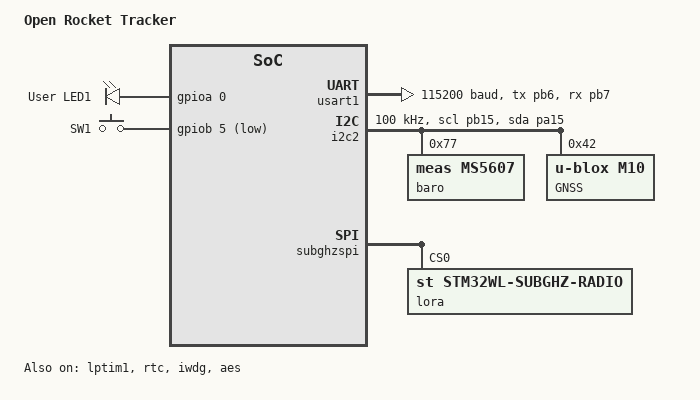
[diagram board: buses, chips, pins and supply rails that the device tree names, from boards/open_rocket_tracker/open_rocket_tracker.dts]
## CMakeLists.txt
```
# SPDX-License-Identifier: Apache-2.0

cmake_minimum_required(VERSION 3.20.0)
find_package(Zephyr REQUIRED HINTS $ENV{ZEPHYR_BASE})
project(open_rocket_tracker)

target_sources(app PRIVATE src/main.c)
```

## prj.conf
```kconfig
# Enable LoRa
CONFIG_LORA=y

# LoRa Configuration
# Adjust spreading factor for range vs speed tradeoff
# SF12: Max range (~10km), slow updates
# Set CONFIG_LORA_TX_INTERVAL_MS to 2000ms for SF12 at max duty cycle
# SF7:  Shorter range, fast updates (4-5Hz possible)
# Set CONFIG_LORA_TX_INTERVAL_MS to 250ms for SF7 at max duty cycle
CONFIG_LORA_FREQUENCY=915000000
CONFIG_LORA_BANDWIDTH=125
CONFIG_LORA_SPREADING_FACTOR=9
CONFIG_LORA_TX_POWER=14
CONFIG_LORA_TX_INTERVAL_MS=500

# Enable comms driver
CONFIG_SERIAL=y
CONFIG_I2C=y
CONFIG_SPI=y 

# Enable GPIO
CONFIG_GPIO=y

# Enable sensors
CONFIG_SENSOR=y

# GNSS Configuration
CONFIG_GNSS_UPDATE_RATE_HZ=5
CONFIG_GNSS_AIRBORNE_4G_MODE=y
CONFIG_GNSS_ENABLE_GGA=y
CONFIG_GNSS_ENABLE_GSV=y
CONFIG_GNSS_ENABLE_RMC=n

# Console
CONFIG_CONSOLE=y
CONFIG_PRINTK=y
CONFIG_UART_CONSOLE=y

# Enable MPU
CONFIG_ARM_MPU=y

# Enable HW stack protection
CONFIG_HW_STACK_PROTECTION=y

# Enable Ring Buffer
CONFIG_RING_BUFFER=y

# RF Activity LED
CONFIG_RF_ENABLE_LED=y
```

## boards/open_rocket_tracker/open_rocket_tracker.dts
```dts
/*
 * Copyright (c) 2023 Marcin Niestroj
 *
 * SPDX-License-Identifier: Apache-2.0
 */

/dts-v1/;
#include <seeed_studio/lora-e5.dtsi>
#include <zephyr/dt-bindings/input/input-event-codes.h>

/ {
	model = "Open Rocket Tracker";
	compatible = "orca,rocket-tracker";

	chosen {
		zephyr,console = &usart1;
		zephyr,shell-uart = &usart1;
		zephyr,sram = &sram0;
		zephyr,flash = &flash0;
		zephyr,code-partition = &slot0_partition;
	};

	leds {
		compatible = "gpio-leds";
		red_led_1: led_1 {
			gpios = <&gpioa 0 GPIO_ACTIVE_HIGH>;
			label = "User LED1";
		};
	};

	gpio_keys {
		compatible = "gpio-keys";
		boot_button: button_0 {
			label = "SW1";
			gpios = <&gpiob 5 (GPIO_ACTIVE_LOW | GPIO_PULL_UP)>;
			zephyr,code = <INPUT_KEY_0>;
		};
	};

	aliases {
		led0 = &red_led_1;
		sw0 = &boot_button;
		lora0 = &lora;
		watchdog0 = &iwdg;
	};
};

stm32_lp_tick_source: &lptim1 {
	status = "okay";
	clocks = <&rcc STM32_CLOCK_BUS_APB1 0x80000000>,
		 <&rcc STM32_SRC_LSI LPTIM1_SEL(1)>;
};

&clk_lsi {
	status = "okay";
};

&clk_msi {
	status = "okay";
	msi-range = <11>;
};

&rcc {
	clocks = <&clk_msi>;
	clock-frequency = <DT_FREQ_M(48)>;
	cpu1-prescaler = <1>;
	ahb3-prescaler = <1>;
	apb1-prescaler = <1>;
	apb2-prescaler = <1>;
};

&usart1 {
	pinctrl-0 = <&usart1_tx_pb6 &usart1_rx_pb7>;
	pinctrl-names = "default";
	current-speed = <115200>;
	status = "okay";
};

&i2c2 {
	pinctrl-0 = <&i2c2_scl_pb15 &i2c2_sda_pa15>;
	pinctrl-names = "default";
	status = "okay";
	clock-frequency = <I2C_BITRATE_STANDARD>;
	baro@77 {
        compatible = "meas,ms5607";
        reg = <0x77>;
        status = "okay";
    };
	gnss@42 {
        compatible = "u-blox,m10";
        reg = <0x42>;
        label = "GNSS";
    };
};

&rtc {
	clocks = <&rcc STM32_CLOCK_BUS_APB1 0x00000400>,
		 <&rcc STM32_SRC_LSI RTC_SEL(2)>;
	status = "okay";
};

&iwdg {
	status = "okay";
};

&aes {
	status = "okay";
};

&flash0 {
	partitions {
		compatible = "fixed-partitions";
		#address-cells = <1>;
		#size-cells = <1>;

		boot_partition: partition@0 {
			label = "mcuboot";
			reg = <0x00000000 DT_SIZE_K(48)>;
		};
		slot0_partition: partition@c000 {
			label = "image-0";
			reg = <0x0000c000 DT_SIZE_K(96)>;
		};
		slot1_partition: partition@24000 {
			label = "image-1";
			reg = <0x00024000 DT_SIZE_K(96)>;
		};

		/* 16KB (8x2kB pages) of storage at the end of the flash */
		storage_partition: partition@3c000 {
			label = "storage";
			reg = <0x0003c000 DT_SIZE_K(16)>;
		};
	};
};

/* Add this to your open_rocket_tracker.dts if not already present */
&subghzspi {
    status = "okay";
    
    lora: radio@0 {
        compatible = "st,stm32wl-subghz-radio";
        reg = <0>;
        status = "okay";
    };
};
```

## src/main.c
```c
#include <zephyr/kernel.h>
#include <zephyr/device.h>
#include <zephyr/drivers/lora.h>
#include <zephyr/drivers/sensor.h>
#include <zephyr/drivers/i2c.h>
#include <zephyr/drivers/gpio.h>
#include <zephyr/sys/printk.h>
#include <string.h>
#include <zephyr/sys/ring_buffer.h>

/* Configuration Constants */
#define TX_PACKET_SIZE 25
#define TX_INTERVAL_MS CONFIG_LORA_TX_INTERVAL_MS
#define GPS_I2C_ADDR 0x42
#define GPS_BUFFER_SIZE 512

/* LoRa Configuration from Kconfig */
#define LORA_FREQUENCY        CONFIG_LORA_FREQUENCY
#define LORA_BANDWIDTH_KHZ    CONFIG_LORA_BANDWIDTH
#define LORA_SPREADING_FACTOR CONFIG_LORA_SPREADING_FACTOR
#define LORA_TX_POWER         CONFIG_LORA_TX_POWER

/* Thread Configuration */
#define BARO_STACK_SIZE 1024
#define TX_STACK_SIZE 1024
#define GNSS_STACK_SIZE 2048 
#define BARO_PRIORITY 1    
#define GNSS_PRIORITY 1    
#define TX_PRIORITY 2      

/* Thread Stacks */
K_THREAD_STACK_DEFINE(baro_stack, BARO_STACK_SIZE);
K_THREAD_STACK_DEFINE(tx_stack, TX_STACK_SIZE);
K_THREAD_STACK_DEFINE(gnss_stack, GNSS_STACK_SIZE);

/* Thread Data Objects */
static struct k_thread baro_thread_data;
static struct k_thread tx_thread_data;
static struct k_thread gnss_thread_data;

/* Synchronization */
K_SEM_DEFINE(data_ready_sem, 0, 1);
K_MUTEX_DEFINE(data_mutex);

/* Ring buffer configuration */
#define RING_BUF_SIZE 1024
static struct ring_buf gnss_ring_buf;
static uint8_t ring_buffer_data[RING_BUF_SIZE];

/* Device pointers */
static const struct device *lora_dev = DEVICE_DT_GET(DT_ALIAS(lora0));
static const struct device *ms5607_dev = DEVICE_DT_GET_ANY(meas_ms5607);
static const struct device *i2c_dev = DEVICE_DT_GET(DT_NODELABEL(i2c2));

#if IS_ENABLED(CONFIG_RF_ENABLE_LED)
static const struct gpio_dt_spec led = GPIO_DT_SPEC_GET(DT_ALIAS(led0), gpios);
#endif

/* Map Kconfig bandwidth to Zephyr LoRa enum */
static enum lora_signal_bandwidth get_bandwidth(void)
{
    switch (LORA_BANDWIDTH_KHZ) {
    case 125:
        return BW_125_KHZ;
    case 250:
        return BW_250_KHZ;
    case 500:
        return BW_500_KHZ;
    default:
        return BW_125_KHZ;
    }
}

/* Map Kconfig spreading factor to Zephyr LoRa enum */
static enum lora_datarate get_spreading_factor(void)
{
    switch (LORA_SPREADING_FACTOR) {
    case 6:
        return SF_6;
    case 7:
        return SF_7;
    case 8:
        return SF_8;
    case 9:
        return SF_9;
    case 10:
        return SF_10;
    case 11:
        return SF_11;
    case 12:
        return SF_12;
    default:
        return SF_12;
    }
}

/* Data packet structure */
union DataPacket {
    struct {
        int32_t latitude;     
        int32_t longitude;    
        int32_t altitude;     
        uint32_t timeMs;      
        int32_t pressure;     
        int16_t temperature;  
        uint8_t satellites;   
        uint8_t status;       
        uint8_t checksum;     
    } fields;
    uint8_t buffer[TX_PACKET_SIZE];
};

/* Shared data packet */
static union DataPacket shared_packet;

/* GNSS configuration functions */
static int set_gnss_update_rate(uint8_t frequency_hz) {
    uint16_t measRate = 1000 / frequency_hz; // Convert Hz to milliseconds

    uint8_t msg[] = {
        0xB5, 0x62, // UBX sync chars
        0x06, 0x08, // UBX-CFG-RATE class and ID
        0x06, 0x00, // Length (6 bytes)
        (uint8_t)(measRate & 0xFF), (uint8_t)(measRate >> 8), // measRate
        0x01, 0x00, // navRate
        0x01, 0x00, // timeRef (GPS time)
        0x00, 0x00  // Reserved
    };

    // Calculate checksum
    uint8_t ck_a = 0, ck_b = 0;
    for (size_t i = 2; i < sizeof(msg) - 2; i++) {
        ck_a += msg[i];
        ck_b += ck_a;
    }
    msg[sizeof(msg) - 2] = ck_a;
    msg[sizeof(msg) - 1] = ck_b;

    return i2c_write(i2c_dev, msg, sizeof(msg), GPS_I2C_ADDR);
}

static int set_gnss_airborne_4g_mode() {
    uint8_t msg[] = {
        0xB5, 0x62, // UBX sync chars
        0x06, 0x24, // UBX-CFG-NAV5 class and ID
        0x24, 0x00, // Length (36 bytes)
        0x01, 0x00, // mask (apply dynModel)
        0x07,       // dynModel (airborne <4g)
        0x03,       // fixMode (auto 2D/3D)
        0x00, 0x00, 0x00, 0x00, // fixedAlt
        0x00, 0x00, 0x00, 0x00, // fixedAltVar
        0x05,       // minElev
        0x00,       // drLimit
        0xFA, 0x00, // pDop
        0xFA, 0x00, // tDop
        0x64, 0x00, // pAcc
        0x5E, 0x01, // tAcc
        0x00,       // staticHoldThresh
        0x3C,       // dgpsTimeOut
        0x00,       // cnoThreshNumSVs
        0x00,       // cnoThresh
        0x00, 0x00, // Reserved
        0x00, 0x00, // staticHoldMaxDist
        0x00,       // utcStandard
        0x00, 0x00, 0x00, 0x00, 0x00 // Reserved
    };

    // Calculate checksum
    uint8_t ck_a = 0, ck_b = 0;
    for (size_t i = 2; i < sizeof(msg) - 2; i++) {
        ck_a += msg[i];
        ck_b += ck_a;
    }
    msg[sizeof(msg) - 2] = ck_a;
    msg[sizeof(msg) - 1] = ck_b;

    return i2c_write(i2c_dev, msg, sizeof(msg), GPS_I2C_ADDR);
}

static int configure_nmea_messages(bool enable_gga, bool enable_gsv, bool enable_rmc) {
    int ret = 0;

    // Disable all NMEA messages first
    const uint8_t nmea_messages[] = {
        0xF0, 0x00, // GGA
        0xF0, 0x01, // GLL
        0xF0, 0x02, // GSA
        0xF0, 0x03, // GSV
        0xF0, 0x04, // RMC
        0xF0, 0x05, // VTG
        0xF0, 0x06, // GRC
        0xF0, 0x07, // GRS
        0xF0, 0x08, // GST
    };

    for (size_t i = 0; i < sizeof(nmea_messages) / 2; i++) {
        uint8_t msg[] = {
            0xB5, 0x62, // UBX sync chars
            0x06, 0x01, // UBX-CFG-MSG class and ID
            0x03, 0x00, // Length (3 bytes)
            nmea_messages[2 * i],     // Message class
            nmea_messages[2 * i + 1], // Message ID
            0x00 // Disable (0 = off, 1 = on)
        };

        // Calculate checksum
        uint8_t ck_a = 0, ck_b = 0;
        for (size_t j = 2; j < sizeof(msg) - 2; j++) {
            ck_a += msg[j];
            ck_b += ck_a;
        }
        msg[sizeof(msg) - 2] = ck_a;
        msg[sizeof(msg) - 1] = ck_b;

        ret = i2c_write(i2c_dev, msg, sizeof(msg), GPS_I2C_ADDR);
        if (ret < 0) {
            printk("Failed to disable NMEA message 0x%02X 0x%02X\n", nmea_messages[2 * i], nmea_messages[2 * i + 1]);
            return ret;
        }
    }

    // Enable selected NMEA messages
    if (enable_gga) {
        uint8_t msg[] = {
            0xB5, 0x62, // UBX sync chars
            0x06, 0x01, // UBX-CFG-MSG class and ID
            0x03, 0x00, // Length (3 bytes)
            0xF0, 0x00, // GGA class and ID
            0x01 // Enable (1 = on)
        };

        // Calculate checksum
        uint8_t ck_a = 0, ck_b = 0;
        for (size_t j = 2; j < sizeof(msg) - 2; j++) {
            ck_a += msg[j];
            ck_b += ck_a;
        }
        msg[sizeof(msg) - 2] = ck_a;
        msg[sizeof(msg) - 1] = ck_b;

        ret = i2c_write(i2c_dev, msg, sizeof(msg), GPS_I2C_ADDR);
        if (ret < 0) {
            printk("Failed to enable GGA message\n");
            return ret;
        }
    }

    if (enable_gsv) {
        uint8_t msg[] = {
            0xB5, 0x62, // UBX sync chars
            0x06, 0x01, // UBX-CFG-MSG class and ID
            0x03, 0x00, // Length (3 bytes)
            0xF0, 0x03, // GSV class and ID
            0x01 // Enable (1 = on)
        };

        // Calculate checksum
        uint8_t ck_a = 0, ck_b = 0;
        for (size_t j = 2; j < sizeof(msg) - 2; j++) {
            ck_a += msg[j];
            ck_b += ck_a;
        }
        msg[sizeof(msg) - 2] = ck_a;
        msg[sizeof(msg) - 1] = ck_b;

        ret = i2c_write(i2c_dev, msg, sizeof(msg), GPS_I2C_ADDR);
        if (ret < 0) {
            printk("Failed to enable GSV message\n");
            return ret;
        }
    }

    if (enable_rmc) {
        uint8_t msg[] = {
            0xB5, 0x62, // UBX sync chars
            0x06, 0x01, // UBX-CFG-MSG class and ID
            0x03, 0x00, // Length (3 bytes)
            0xF0, 0x04, // RMC class and ID
            0x01 // Enable (1 = on)
        };

        // Calculate checksum
        uint8_t ck_a = 0, ck_b = 0;
        for (size_t j = 2; j < sizeof(msg) - 2; j++) {
            ck_a += msg[j];
            ck_b += ck_a;
        }
        msg[sizeof(msg) - 2] = ck_a;
        msg[sizeof(msg) - 1] = ck_b;

        ret = i2c_write(i2c_dev, msg, sizeof(msg), GPS_I2C_ADDR);
        if (ret < 0) {
            printk("Failed to enable RMC message\n");
            return ret;
        }
    }

    return 0;
}

/* GNSS thread function */
static void gnss_thread(void *arg1, void *arg2, void *arg3) {
    /* Make sure the I2C device is ready */
    if (!device_is_ready(i2c_dev)) {
        printk("I2C device not ready for GNSS\n");
        return;
    }

    /* Initialize ring buffer */
    ring_buf_init(&gnss_ring_buf, sizeof(ring_buffer_data), ring_buffer_data);

    uint8_t temp_byte;
    uint8_t parse_buffer[GPS_BUFFER_SIZE];
    
    while (1) {
        /* Read from I2C into ring buffer */
        while (ring_buf_space_get(&gnss_ring_buf) > 0) {
            int ret = i2c_read(i2c_dev, &temp_byte, 1, GPS_I2C_ADDR);
            if (ret < 0) {
                printk("GNSS I2C read error\n");
                break;
            }

            /* Accept ASCII range + CR/LF */
            if ((temp_byte >= 32 && temp_byte <= 126) || 
                temp_byte == '\r' || temp_byte == '\n') {
                uint32_t bytes_written = ring_buf_put(&gnss_ring_buf, 
                                                    &temp_byte, 1);
                if (bytes_written != 1) {
                    printk("Ring buffer full\n");
                    break;
                }
            } else {
                break; /* stop reading if it's not a typical NMEA char */
            }
        }

        /* Process data from ring buffer */
        uint32_t bytes_available = ring_buf_size_get(&gnss_ring_buf);
        if (bytes_available > 0) {
            /* Read data from ring buffer into parse buffer */
            uint32_t bytes_read = ring_buf_get(&gnss_ring_buf, 
                                             parse_buffer,
                                             MIN(bytes_available, GPS_BUFFER_SIZE));

            /* Look for GGA sentences in the buffer */
            for (size_t i = 0; i < bytes_read; i++) {
                /* Start of an NMEA sentence? */
                if (parse_buffer[i] == '$') {
                    /* Check if it's GGA ($GNGGA or $GPGGA) */
                    if ((i + 5 < bytes_read) &&
                       ((strncmp((char *)&parse_buffer[i], "$GNGGA", 6) == 0) ||
                        (strncmp((char *)&parse_buffer[i], "$GPGGA", 6) == 0))) {

                        /* Find the end '*' or run out of buffer */
                        size_t end_idx = i;
                        while ((end_idx < bytes_read) && 
                               (parse_buffer[end_idx] != '*')) {
                            end_idx++;
                        }

                        /* If we found '*', we at least have a full sentence */
                        if (end_idx < bytes_read) {
                            /* Temporarily make it a string by adding null terminator */
                            if (end_idx + 3 < bytes_read) {
                                parse_buffer[end_idx] = '\0';
                            }

                            /* Your existing NMEA parsing code remains the same */
                            char *sentence = (char *)&parse_buffer[i];
                            char *token;
                            int field_idx = 0;

                            /* Temporary local vars */
                            uint8_t satellites = 0;
                            int32_t altitude = 0;
                            int32_t lat_degs_fixed = 0;
                            int32_t lon_degs_fixed = 0;
                            int32_t gnss_time_hhmmss = 0;

                            token = strtok(sentence, ",");
                            while (token != NULL) {
                                field_idx++;
                                token = strtok(NULL, ",");

                                if (token == NULL) {
                                    break;
                                }

                                /* Your existing switch case for parsing remains the same */
                                switch (field_idx) {
                                    case 1: {
                                        /* hhmmss.sss (GNSS time) */
                                        /* We'll store as integer HHMMSS (ignore decimals) */
                                        /* e.g. "123519.00" -> 123519  */
                                        char hhmmss_str[7] = {0}; 
                                        strncpy(hhmmss_str, token, 6); 
                                        gnss_time_hhmmss = atoi(hhmmss_str);
                                        break;
                                    }
                                    case 2: {
                                        /* latitude in ddmm.mmmm */
                                        /* We'll parse to decimal degrees * 1e7 to store in int32 */
                                        /* example: "5133.8201" -> 51 + (33.8201/60) = 51.56367 deg */
                                        double raw_lat = atof(token);
                                        int deg = (int)(raw_lat / 100.0);
                                        double min = raw_lat - (deg * 100.0);
                                        double dec_deg = deg + (min / 60.0);
                                        /* Multiply by 1e7 for int32 storage (common approach) */
                                        lat_degs_fixed = (int32_t)(dec_deg * 1e7);
                                        break;
                                    }
                                    case 3: {
                                        /* 'N' or 'S' */
                                        if (*token == 'S') {
                                            lat_degs_fixed = -lat_degs_fixed;
                                        }
                                        break;
                                    }
                                    case 4: {
                                        /* longitude in dddmm.mmmm */
                                        double raw_lon = atof(token);
                                        int deg = (int)(raw_lon / 100.0);
                                        double min = raw_lon - (deg * 100.0);
                                        double dec_deg = deg + (min / 60.0);
                                        lon_degs_fixed = (int32_t)(dec_deg * 1e7);
                                        break;
                                    }
                                    case 5: {
                                        /* 'E' or 'W' */
                                        if (*token == 'W') {
                                            lon_degs_fixed = -lon_degs_fixed;
                                        }
                                        break;
                                    }
                                    case 7: {
                                        /* satellites in use */
                                        satellites = (uint8_t)atoi(token);
                                        break;
                                    }
                                    case 9: {
                                        /* altitude in meters */
                                        double alt_f = atof(token);
                                        altitude = (int32_t)alt_f;
                                        break;
                                    }
                                    default:
                                        /* We skip the rest */
                                        break;
                            }
                            }

                            /* Update shared_packet with new GNSS data */
                            k_mutex_lock(&data_mutex, K_FOREVER);
                            shared_packet.fields.latitude = lat_degs_fixed;
                            shared_packet.fields.longitude = lon_degs_fixed;
                            shared_packet.fields.altitude = altitude;
                            shared_packet.fields.timeMs = gnss_time_hhmmss;
                            shared_packet.fields.satellites = satellites;
                            shared_packet.fields.status = 1;
                            k_mutex_unlock(&data_mutex);

                            /* Signal new data */
                            k_sem_give(&data_ready_sem);
                            
                            /* Move i forward, we're done with this sentence */
                            i = end_idx;
                        }
                    }
                }
            }
        }

        /* Add monitoring for ring buffer usage */
        uint32_t space_available = ring_buf_space_get(&gnss_ring_buf);
        uint32_t usage_percent = ((RING_BUF_SIZE - space_available) * 100) / RING_BUF_SIZE;
        
        if (usage_percent > 80) {
            printk("Warning: GNSS ring buffer usage at %u%%\n", usage_percent);
        }

        /* Small delay before next read cycle */
        k_msleep(50);  
    }
}


/* Function to compute checksum */
static uint8_t compute_checksum(const uint8_t *data, size_t len) {
    uint8_t checksum = 0;
    for (size_t i = 0; i < len; i++) {
        checksum ^= data[i];
    }
    return checksum;
}

/* Barometer thread function */
static void baro_thread(void *arg1, void *arg2, void *arg3) {
    while (1) {
        if (device_is_ready(ms5607_dev)) {
            struct sensor_value press_val, temp_val;
            int ret;

            /* Take mutex before updating shared data */
            k_mutex_lock(&data_mutex, K_FOREVER);

            ret = sensor_sample_fetch(ms5607_dev);
            if (ret == 0) {
                /* Get pressure */
                ret = sensor_channel_get(ms5607_dev, SENSOR_CHAN_PRESS, &press_val);
                if (ret == 0) {
                    int32_t press_hpa_int = press_val.val1;
                    int32_t press_hpa_frac = press_val.val2 / 10000;
                    int32_t pressure_pa = (press_hpa_int * 100 + press_hpa_frac) * 100;
                    shared_packet.fields.pressure = pressure_pa;
                }

                /* Get temperature */
                ret = sensor_channel_get(ms5607_dev, 
                                       SENSOR_CHAN_AMBIENT_TEMP, 
                                       &temp_val);
                if (ret == 0) {
                    int32_t t_int = temp_val.val1;
                    int32_t t_frac = temp_val.val2 / 10000;
                    int32_t temperature_centi = t_int * 100 + t_frac;
                    shared_packet.fields.temperature = (int16_t)temperature_centi;
                }

                /* Update timestamp */
                shared_packet.fields.timeMs = k_uptime_get_32();
            }

            k_mutex_unlock(&data_mutex);

            /* Signal that new data is ready */
            k_sem_give(&data_ready_sem);
        }

        /* Wait before next reading */
        k_msleep(500);  /* Sample at 2Hz */
    }
}

/* Transmitter thread function */
static void tx_thread(void *arg1, void *arg2, void *arg3) {
    /* Configure LoRa radio using Kconfig values */
    struct lora_modem_config config = {
        .frequency = LORA_FREQUENCY,
        .bandwidth = get_bandwidth(),
        .datarate = get_spreading_factor(),
        .coding_rate = CR_4_5,
        .preamble_len = 8,
        .tx_power = LORA_TX_POWER,
        .tx = true,
        .public_network = false,
        .iq_inverted = false,
    };

    if (lora_config(lora_dev, &config) < 0) {
        printk("LoRa config failed\n");
        return;
    }

    printk("LoRa TX configured: %u Hz, BW %u kHz, SF%u, %d dBm, interval %d ms\n",
           LORA_FREQUENCY, LORA_BANDWIDTH_KHZ, LORA_SPREADING_FACTOR,
           LORA_TX_POWER, TX_INTERVAL_MS);

    union DataPacket tx_packet;

    while (1) {
        /* Wait for new data */
        k_sem_take(&data_ready_sem, K_FOREVER);

        /* Copy shared data safely */
        k_mutex_lock(&data_mutex, K_FOREVER);
        memcpy(&tx_packet, &shared_packet, sizeof(union DataPacket));
        k_mutex_unlock(&data_mutex);

        /* Compute and add checksum */
        tx_packet.fields.checksum = compute_checksum(tx_packet.buffer, 
                                                   TX_PACKET_SIZE - 1);

        /* Turn on LED before transmit */
#if IS_ENABLED(CONFIG_RF_ENABLE_LED)
        gpio_pin_set_dt(&led, 1);
#endif

        /* Transmit packet */
        int ret = lora_send(lora_dev, tx_packet.buffer, TX_PACKET_SIZE);

        /* Turn off LED after transmit */
#if IS_ENABLED(CONFIG_RF_ENABLE_LED)
        gpio_pin_set_dt(&led, 0);
#endif

        if (ret < 0) {
            printk("LoRa send failed: %d\n", ret);
        } else {
            printk("LoRa packet sent (CHKSUM=0x%02X)\n",
                   tx_packet.fields.checksum);
        }

        k_msleep(TX_INTERVAL_MS);
    }
}

int main(void)
{
    /* Check device readiness */
    if (!device_is_ready(lora_dev) || !device_is_ready(i2c_dev)) {
        printk("LoRa or I2C device not ready\n");
        return 1;
    }

    if (!device_is_ready(ms5607_dev)) {
        printk("MS5607 sensor not ready\n");
        return 2;
    }

#if IS_ENABLED(CONFIG_RF_ENABLE_LED)
    /* Initialize LED */
    if (!gpio_is_ready_dt(&led)) {
        printk("LED device not ready\n");
        return 3;
    }
    gpio_pin_configure_dt(&led, GPIO_OUTPUT_INACTIVE);
    printk("RF LED enabled on PA0\n");
#endif

    /* Initialize shared packet */
    memset(&shared_packet, 0, sizeof(shared_packet));

    /* Configure GNSS module */
    if (set_gnss_airborne_4g_mode() < 0) {
        printk("Failed to set GNSS airborne 4g mode\n");
        return 3;
    }

    if (set_gnss_update_rate(5) < 0) {
        printk("Failed to set GNSS update rate\n");
        return 4;
    }

    if (configure_nmea_messages(true, true, false) < 0) {
        printk("Failed to configure NMEA messages\n");
        return 5;
    }

    /* Create threads */
    k_thread_create(&baro_thread_data,
                   baro_stack,
                   BARO_STACK_SIZE,
                   baro_thread,
                   NULL, NULL, NULL,
                   BARO_PRIORITY,
                   0,
                   K_NO_WAIT);

    k_thread_create(&gnss_thread_data,
                   gnss_stack,
                   GNSS_STACK_SIZE,
                   gnss_thread,
                   NULL, NULL, NULL,
                   GNSS_PRIORITY,
                   0,
                   K_NO_WAIT);

    k_thread_create(&tx_thread_data,
                   tx_stack,
                   TX_STACK_SIZE,
                   tx_thread,
                   NULL, NULL, NULL,
                   TX_PRIORITY,
                   0,
                   K_NO_WAIT);

    /* Name threads for debugging */
    k_thread_name_set(&baro_thread_data, "baro_thread");
    k_thread_name_set(&gnss_thread_data, "gnss_thread");
    k_thread_name_set(&tx_thread_data, "tx_thread");

    return 0;
}
```
